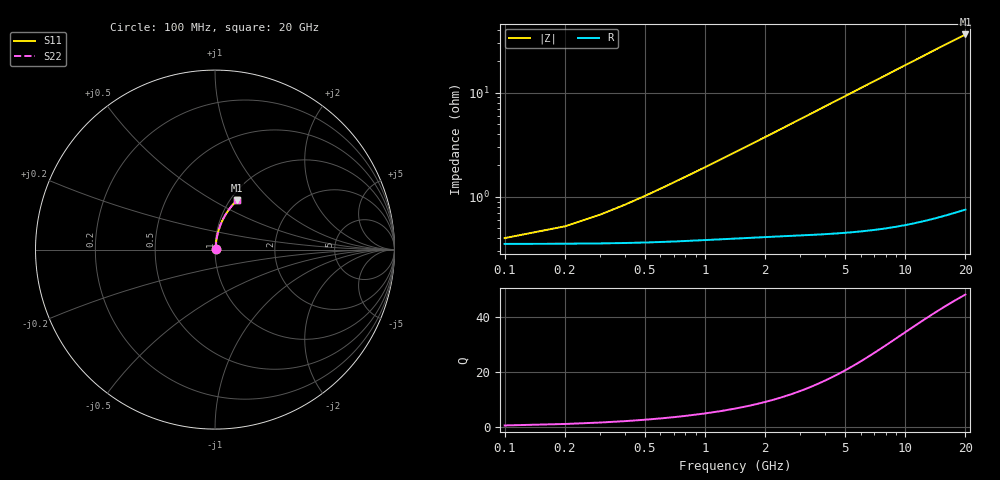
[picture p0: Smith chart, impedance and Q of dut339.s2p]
! Touchstone file exported from HFSS 2026.1.0
!  File:  C:/ffzhzh/LocalFiles/Ansys_Project_Files/temp_train_TMRDL_339_1783003783_4048.aedt
!  Generated:  10:51:05 PM Jul  2, 2026
!  Design:  TMRDL
!  Project:  temp_train_TMRDL_339_1783003783_4048
! Variables:
!  h_bsmrdl = 2um
!  h_ox = 20um
!  h_rdl = 5um
!  h_sub = 80um
!  h_tmrdl = 2.12um
!  h_tsv = 80um
!  h_via = 3um
!  l_bsmrdl = 300um
!  l_sub = 621.42um
!  l_tmrdl = 221.42um
!  m_sub = 200um
!  pitch = 51.8um
!  r_tsv = 6um
!  s_tmrdl = 10um
!  w_bsmrdl = 18um
!  w_sub = 500um
!  w_tmrdl = 11.33um
!  x_tsv_center1 = 227.085um
!  x_tsv_center2 = 545.085um
!  x_tsv_center3 = 777.835um
!  x_tsv_center4 = 1095.835um
!  x_tsv_center5 = 1328.585um
!  x_tsv_center6 = 1646.585um
# GHz S MA R 50.000000
! Terminal data exported
! Port[1] = TM_RDL1_1_T1
! Port[2] = TM_RDL1_1_T2
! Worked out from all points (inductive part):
!   200 points, 100 MHz to 20 GHz, reference 50 ohm
!   read as one part in series: L = 300 pH near 600 MHz
!   highest Q = 48.1 at 20 GHz (marker M1), where L = 288 pH
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0.1  0.00389 25.4  0.9965 -0.1  0.9965 -0.1  0.00389 25.4
! Gamma 0 0 0 0
! Port Impedance 50 0 50 0
0.3  0.006146 54.3  0.9964 -0.4  0.9964 -0.4  0.006146 54.3
0.4  0.007577 61.3  0.9964 -0.5  0.9964 -0.5  0.007577 61.3
0.5  0.009082 65.9  0.9963 -0.6  0.9963 -0.6  0.009082 65.9
0.6  0.01062 69.1  0.9963 -0.7  0.9963 -0.7  0.01062 69.1
0.7  0.01219 71.5  0.9962 -0.8  0.9962 -0.8  0.01219 71.5
0.9  0.01534 74.6  0.9961 -1.1  0.9961 -1.1  0.01534 74.6
1.2  0.02009 77.4  0.9959 -1.4  0.9959 -1.4  0.02009 77.4
1.4  0.02326 78.6  0.9958 -1.7  0.9958 -1.7  0.02326 78.6
1.7  0.02803 79.7  0.9956 -2.0  0.9956 -2.0  0.02803 79.7
2.2  0.03599 80.8  0.9952 -2.6  0.9952 -2.6  0.03599 80.8
2.8  0.04555 81.4  0.9948 -3.3  0.9948 -3.3  0.04555 81.4
3.5  0.0567 81.5  0.9941 -4.1  0.9941 -4.1  0.0567 81.5
4.2  0.06785 81.3  0.9933 -5.0  0.9933 -5.0  0.06785 81.3
5  0.08054 80.9  0.9923 -5.9  0.9923 -5.9  0.08054 80.9
5.9  0.09477 80.3  0.9909 -7.0  0.9909 -7.0  0.09477 80.3
6.8  0.1089 79.5  0.9893 -8.0  0.9893 -8.0  0.1089 79.5
8.3  0.1323 78.1  0.9863 -9.8  0.9863 -9.8  0.1323 78.1
10.1  0.1599 76.3  0.9819 -11.8  0.9819 -11.8  0.1599 76.3
13.4  0.2091 72.8  0.972 -15.5  0.972 -15.5  0.2091 72.8
16.7  0.2562 69.4  0.9601 -19.2  0.9601 -19.2  0.2562 69.4
20  0.3008 65.9  0.9466 -22.7  0.9466 -22.7  0.3008 65.9
